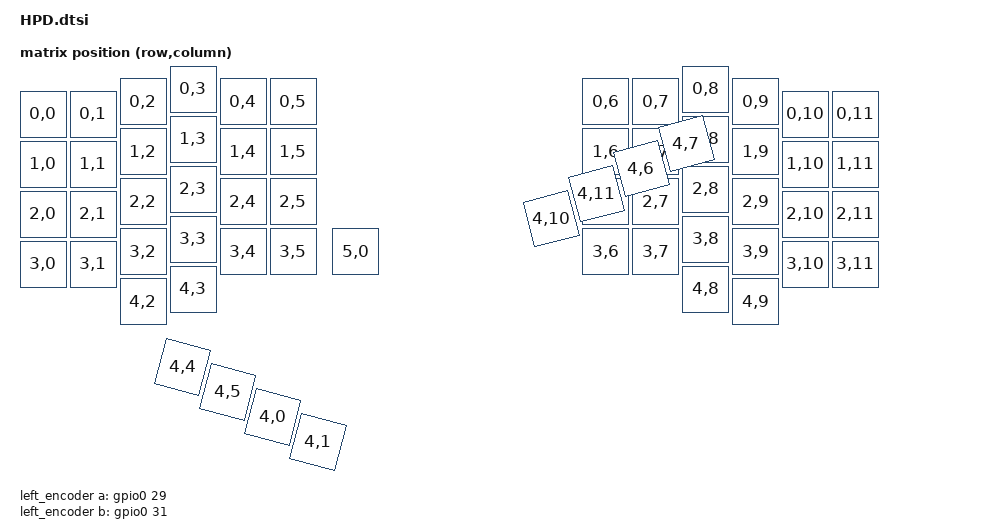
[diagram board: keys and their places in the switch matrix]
#include <physical_layouts.dtsi> 
#include <zephyr/dt-bindings/input/input-event-codes.h>
#include <input/processors.dtsi>
#include <input/processors/runtime-input-processor.dtsi>
#undef RC
#include <dt-bindings/zmk/matrix_transform.h>
#include <dt-bindings/led/led.h>
#include <zmk_driver_animation/animation.dtsi>
#include <behaviors/animation_control.dtsi>
#include <dt-bindings/zmk_driver_animation/animation_control.h>
/ {
    chosen {
	zmk,physical-layout = &hpd_physical_layout;
	zmk,animation = &animation_control0;
	zmk,animation-control = &animation_control0;
    };
    
	hpd_physical_layout: hpd_physical_layout {
        compatible = "zmk,physical-layout";
        display-name = "Default";
        transform = <&default_transform>;
        kscan = <&kscan0>;

        keys  //                     w   h    x    y     rot    rx    ry
            = <&key_physical_attrs 100 100    0   50       0     0     0>
            , <&key_physical_attrs 100 100  100   50       0     0     0>
            , <&key_physical_attrs 100 100  200   25       0     0     0>
            , <&key_physical_attrs 100 100  300    0       0     0     0>
            , <&key_physical_attrs 100 100  400   25       0     0     0>
            , <&key_physical_attrs 100 100  500   25       0     0     0>
            , <&key_physical_attrs 100 100 1125   25       0     0     0>
            , <&key_physical_attrs 100 100 1225   25       0     0     0>
            , <&key_physical_attrs 100 100 1325    0       0     0     0>
            , <&key_physical_attrs 100 100 1425   25       0     0     0>
            , <&key_physical_attrs 100 100 1525   50       0     0     0>
            , <&key_physical_attrs 100 100 1625   50       0     0     0>
            , <&key_physical_attrs 100 100    0  150       0     0     0>
            , <&key_physical_attrs 100 100  100  150       0     0     0>
            , <&key_physical_attrs 100 100  200  125       0     0     0>
            , <&key_physical_attrs 100 100  300  100       0     0     0>
            , <&key_physical_attrs 100 100  400  125       0     0     0>
            , <&key_physical_attrs 100 100  500  125       0     0     0>
            , <&key_physical_attrs 100 100 1125  125       0     0     0>
            , <&key_physical_attrs 100 100 1225  125       0     0     0>
            , <&key_physical_attrs 100 100 1325  100       0     0     0>
            , <&key_physical_attrs 100 100 1425  125       0     0     0>
            , <&key_physical_attrs 100 100 1525  150       0     0     0>
            , <&key_physical_attrs 100 100 1625  150       0     0     0>
            , <&key_physical_attrs 100 100    0  250       0     0     0>
            , <&key_physical_attrs 100 100  100  250       0     0     0>
            , <&key_physical_attrs 100 100  200  225       0     0     0>
            , <&key_physical_attrs 100 100  300  200       0     0     0>
            , <&key_physical_attrs 100 100  400  225       0     0     0>
            , <&key_physical_attrs 100 100  500  225       0     0     0>
            , <&key_physical_attrs 100 100 1125  225       0     0     0>
            , <&key_physical_attrs 100 100 1225  225       0     0     0>
            , <&key_physical_attrs 100 100 1325  200       0     0     0>
            , <&key_physical_attrs 100 100 1425  225       0     0     0>
            , <&key_physical_attrs 100 100 1525  250       0     0     0>
            , <&key_physical_attrs 100 100 1625  250       0     0     0>
            , <&key_physical_attrs 100 100    0  350       0     0     0>
            , <&key_physical_attrs 100 100  100  350       0     0     0>
            , <&key_physical_attrs 100 100  200  325       0     0     0>
            , <&key_physical_attrs 100 100  300  300       0     0     0>
            , <&key_physical_attrs 100 100  400  325       0     0     0>
            , <&key_physical_attrs 100 100  500  325       0     0     0>
            , <&key_physical_attrs 100 100 1125  325       0     0     0>
            , <&key_physical_attrs 100 100 1225  325       0     0     0>
            , <&key_physical_attrs 100 100 1325  300       0     0     0>
            , <&key_physical_attrs 100 100 1425  325       0     0     0>
            , <&key_physical_attrs 100 100 1525  350       0     0     0>
            , <&key_physical_attrs 100 100 1625  350       0     0     0>
            , <&key_physical_attrs 100 100  625  500    1500     0     0>
            , <&key_physical_attrs 100 100  725  525    1500     0     0>
            , <&key_physical_attrs 100 100  200  425       0     0     0>
            , <&key_physical_attrs 100 100  300  400       0     0     0>
            , <&key_physical_attrs 100 100  425  450    1500     0     0>
            , <&key_physical_attrs 100 100  525  475    1500     0     0>
            , <&key_physical_attrs 100 100 1100  475 (-1500)     0     0>
            , <&key_physical_attrs 100 100 1200  450 (-1500)     0     0>
            , <&key_physical_attrs 100 100 1325  400       0     0     0>
            , <&key_physical_attrs 100 100 1425  425       0     0     0>
            , <&key_physical_attrs 100 100  900  525 (-1500)     0     0>
            , <&key_physical_attrs 100 100 1000  500 (-1500)     0     0>
            , <&key_physical_attrs 100 100  625  325       0     0     0>
            ;
    };

	left_encoder: left_encoder {
		compatible = "alps,ec11";
		label = "LEFT_ENCODER";
        steps = <20>;
        a-gpios = <&gpio0 29 (GPIO_ACTIVE_HIGH | GPIO_PULL_UP)>;
	    b-gpios = <&gpio0 31 (GPIO_ACTIVE_HIGH | GPIO_PULL_UP)>;
		status = "disabled";
	};

    sensors {
		compatible = "zmk,keymap-sensors";
		sensors = <&left_encoder>;
		triggers-per-rotation = <10>;
	};

    default_transform: keymap_transform_0 {
		compatible = "zmk,matrix-transform";
        columns = <12>;
        rows = <6>;

        map = <
            RC(0,0) RC(0,1) RC(0,2) RC(0,3) RC(0,4) RC(0,5) 	RC(0,6) RC(0,7) RC(0,8) RC(0,9) RC(0,10) RC(0,11)
            RC(1,0) RC(1,1) RC(1,2) RC(1,3) RC(1,4) RC(1,5) 	RC(1,6) RC(1,7) RC(1,8) RC(1,9) RC(1,10) RC(1,11)
            RC(2,0) RC(2,1) RC(2,2) RC(2,3) RC(2,4) RC(2,5) 	RC(2,6) RC(2,7) RC(2,8) RC(2,9) RC(2,10) RC(2,11)
            RC(3,0) RC(3,1) RC(3,2) RC(3,3) RC(3,4) RC(3,5) 	RC(3,6) RC(3,7) RC(3,8) RC(3,9) RC(3,10) RC(3,11)
            RC(4,0) RC(4,1) RC(4,2) RC(4,3) RC(4,4) RC(4,5)     RC(4,6) RC(4,7) RC(4,8) RC(4,9) RC(4,10) RC(4,11)
            RC(5,0)
        >;
    };
	
    kscan0: kscan {
        compatible = "zmk,kscan-gpio-matrix";
        label = "KSCAN";

        diode-direction = "col2row";
    };

    animation: animation {
        compatible = "zmk,animation";
        drivers = <&led_strip>;
        chain-lengths = <1>;
        pixels = <&pixel 0 0>;
    };

    animation_layer_status0: animation_layer_status_0 {
        compatible = "zmk,animation-layer-status";
        pixels = <0>;
        default-color = <HSL(0, 0, 100)>;
        colors = <
            HSL(0, 0, 0)
            HSL(0, 100, 50)
            HSL(120, 100, 50)
            HSL(240, 100, 50)
            HSL(60, 100, 50)
            HSL(300, 100, 50)
            HSL(180, 100, 50)
        >;
    };

    led_power: led_power {
        compatible = "zmk,ext-power-transient";
        control-gpios = <&gpio0 13 GPIO_ACTIVE_HIGH>;
    };

    animation_control0: animation_control_0 {
        compatible = "zmk,animation-control";
        label = "ANIMATION_CONTROL";
        powered-animations = <&animation_layer_status0>;
        battery-animations = <&animation_layer_status0>;
        behavior-animations = <&animation_layer_status0>;
        ext-power = <&led_power>;
        default-powered-brightness = <8>;
        default-battery-brightness = <5>;
    };

};

&{/EXT_POWER} {
    status = "disabled";
};

&spi1 {
    trackball: trackball@0 {
        compatible = "cormoran,pmw3610";
        reg = <0>;
        status = "disabled";
    };
};


